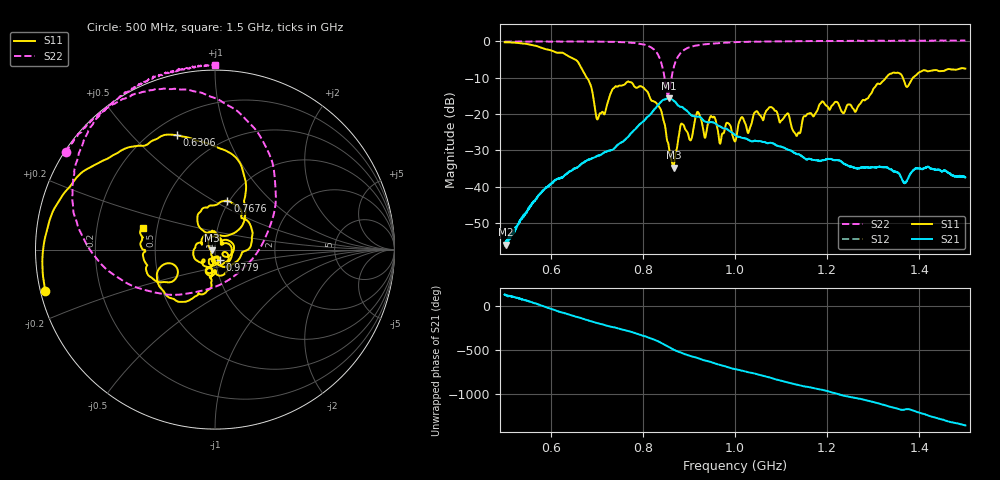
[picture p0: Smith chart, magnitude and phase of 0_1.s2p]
!Keysight Technologies,N5242B,MY48420860,A.13.80.08
!Date: Saturday, September 26, 2020 11:18:26
!Correction: S11(Full 2 Port(1,2))
!S21(Full 2 Port(1,2))
!S12(Full 2 Port(1,2))
!S22(Full 2 Port(1,2))
!S2P File: Measurements: S11, S21, S12, S22:
# Hz S  dB  R 50
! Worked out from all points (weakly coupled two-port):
!   2650 points, 500 MHz to 1.5 GHz, reference 50 ohm
!   highest |S21| = -15.65 dB at 857.1 MHz (marker M1); lowest = -56.0 dB at 503.4 MHz (marker M2)
!   lowest |S11| = -34.8 dB at 866.6 MHz (marker M3), VSWR 1.04, Z = 48.3 - j0.45 ohm
!   |S11| at or under -10 dB: 678.1 MHz to 1.328 GHz (649.9 MHz wide, 64.8 % of centre); 1.364 GHz to 1.386 GHz (21.9 MHz wide, 1.59 % of centre)
!   |S22| runs from -14.8 to 0.3 dB; largest |S21 - S12| = 0.00038
!   S11 on the Smith chart (normalised r, x): 500 MHz: 0.01, -0.12; 630.6 MHz: 0.29, +0.68; 767.6 MHz: 0.98, +0.58; 977.9 MHz: 1.05, -0.12; 1.5 GHz: 0.41, +0.12
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5e8  -0.23 -166.4  -55.73 134.6  -56.34 130.8  -0.07 146.8
5.033975e8  -0.25 -168.2  -56.01 131.1  -55.07 130.7  -0.05 146.6
6.306153e8  -3.46 108.4  -36.81 -79.1  -36.90 -79.1  -0.03 135.8
6.668554e8  -7.35 67.1  -33.74 -135.6  -33.77 -135.6  -0.06 132.0
7.023405e8  -21.37 79.1  -31.51 166.6  -31.49 166.7  -0.05 127.5
7.676482e8  -11.04 75.6  -26.38 78.5  -26.39 78.6  -0.30 114.6
8.337108e8  -17.70 -37.1  -17.39 -42.4  -17.40 -42.4  -3.87 63.9
8.571159e8  -29.76 -130.2  -15.65 -108.6  -15.66 -108.7  -13.76 -88.3
8.665534e8  -34.80 -165.2  -16.29 -136.2  -16.30 -136.3  -7.41 -146.7
8.839185e8  -22.62 94.6  -18.02 -172.7  -18.03 -172.7  -2.97 178.4
9.03926e8  -27.24 43.0  -20.21 149.0  -20.21 148.9  -1.48 160.7
9.186485e8  -19.40 10.5  -20.72 127.8  -20.71 127.6  -1.07 153.5
9.345036e8  -26.53 -27.1  -22.08 100.1  -22.06 100.1  -0.80 148.0
9.503586e8  -20.83 -51.8  -22.23 76.9  -22.24 76.9  -0.62 144.0
9.779162e8  -24.12 -65.4  -23.96 33.3  -23.96 33.1  -0.38 138.8
1.000189e9  -27.55 -88.8  -25.78 -1.1  -25.78 -1.1  -0.23 135.1
1.076444e9  -18.12 -160.4  -27.91 -97.9  -27.92 -98.0  -0.03 125.5
1.132692e9  -25.88 48.6  -30.96 -177.2  -30.96 -176.9  0.04 120.3
1.166667e9  -20.06 -46.4  -32.51 145.7  -32.55 145.5  0.07 117.5
1.262174e9  -19.29 -101.7  -34.93 27.1  -34.93 27.2  0.20 109.5
1.333522e9  -9.18 -122.9  -34.96 -68.3  -34.96 -68.1  0.19 103.8
1.5e9  -7.49 163.2  -37.45 73.2  -37.46 73.7  0.24 90.0
